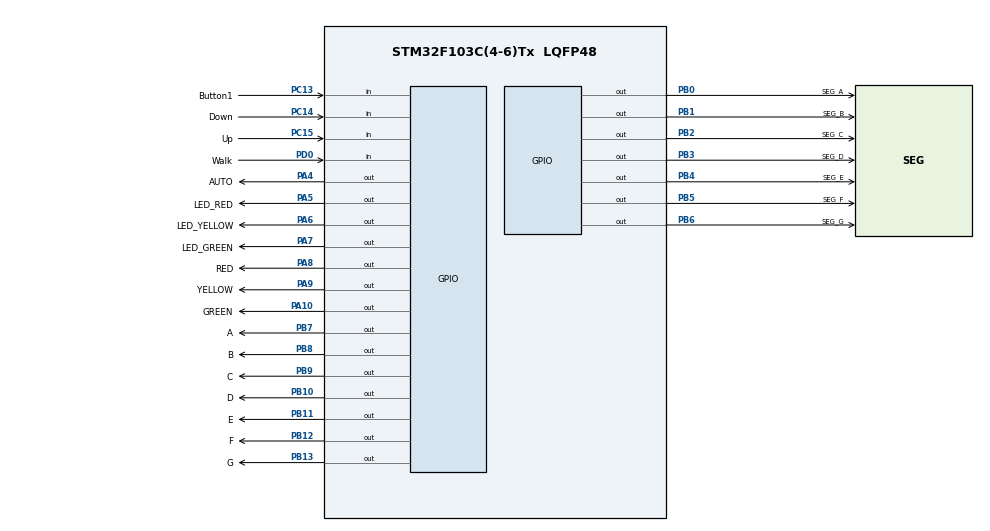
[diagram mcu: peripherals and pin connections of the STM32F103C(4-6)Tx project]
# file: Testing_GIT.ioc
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Mcu.Family=STM32F1
Mcu.Name=STM32F103C(4-6)Tx
Mcu.Package=LQFP48
NVIC.PriorityGroup=NVIC_PRIORITYGROUP_4
NVIC.TIM2_IRQn=true\:0\:0\:false\:false\:true\:true\:true
PA10.GPIO_Label=GREEN
PA10.Signal=GPIO_Output
PA4.GPIO_Label=AUTO
PA4.Signal=GPIO_Output
PA5.GPIO_Label=LED_RED
PA5.Signal=GPIO_Output
PA6.GPIO_Label=LED_YELLOW
PA6.Signal=GPIO_Output
PA7.GPIO_Label=LED_GREEN
PA7.Signal=GPIO_Output
PA8.GPIO_Label=RED
PA8.Signal=GPIO_Output
PA9.GPIO_Label=YELLOW
PA9.Signal=GPIO_Output
PB0.GPIO_Label=SEG_A
PB0.Signal=GPIO_Output
PB1.GPIO_Label=SEG_B
PB1.Signal=GPIO_Output
PB10.GPIO_Label=D
PB10.Signal=GPIO_Output
PB11.GPIO_Label=E
PB11.Signal=GPIO_Output
PB12.GPIO_Label=F
PB12.Signal=GPIO_Output
PB13.GPIO_Label=G
PB13.Signal=GPIO_Output
PB2.GPIO_Label=SEG_C
PB2.Signal=GPIO_Output
PB3.GPIO_Label=SEG_D
PB3.Signal=GPIO_Output
PB4.GPIO_Label=SEG_E
PB4.Signal=GPIO_Output
PB5.GPIO_Label=SEG_F
PB5.Signal=GPIO_Output
PB6.GPIO_Label=SEG_G
PB6.Signal=GPIO_Output
PB7.GPIO_Label=A
PB7.Signal=GPIO_Output
PB8.GPIO_Label=B
PB8.Signal=GPIO_Output
PB9.GPIO_Label=C
PB9.Signal=GPIO_Output
PC13-TAMPER-RTC.GPIO_Label=Button1
PC13-TAMPER-RTC.GPIO_PuPd=GPIO_PULLUP
PC13-TAMPER-RTC.Signal=GPIO_Input
PC14-OSC32_IN.GPIO_Label=Down
PC14-OSC32_IN.GPIO_PuPd=GPIO_PULLUP
PC14-OSC32_IN.Signal=GPIO_Input
PC15-OSC32_OUT.GPIO_Label=Up
PC15-OSC32_OUT.Signal=GPIO_Input
PD0-OSC_IN.GPIO_Label=Walk
PD0-OSC_IN.Signal=GPIO_Input
ProjectManager.HeapSize=0x200
ProjectManager.StackSize=0x400
ProjectManager.TargetToolchain=STM32CubeIDE
RCC.APB1Freq_Value=8000000
RCC.APB2Freq_Value=8000000
TIM2.Period=9
TIM2.Prescaler=7999
VP_SYS_VS_ND.Mode=No_Debug
VP_TIM2_VS_ClockSourceINT.Mode=Internal
board=custom

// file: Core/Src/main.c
/* USER CODE BEGIN Header */
/**
  ******************************************************************************
  * @file           : main.c
  * @brief          : Main program body
  ******************************************************************************
  * @attention
  *
  * <h2><center>&copy; Copyright (c) 2025 STMicroelectronics.
  * All rights reserved.</center></h2>
  *
  * This software component is licensed by ST under BSD 3-Clause license,
  * the "License"; You may not use this file except in compliance with the
  * License. You may obtain a copy of the License at:
  *                        opensource.org/licenses/BSD-3-Clause
  *
  ******************************************************************************
  */
/* USER CODE END Header */
#include "main.h"

/* USER CODE BEGIN Includes */
#include "software_timer.h"
#include "button.h"
#include "fsm_automatic.h"
#include "fsm_manual.h"
/* USER CODE END Includes */

TIM_HandleTypeDef htim2;

void SystemClock_Config(void);
static void MX_GPIO_Init(void);
static void MX_TIM2_Init(void);

int main(void)
{

  /* MCU Configuration--------------------------------------------------------*/

  /* Reset of all peripherals, Initializes the Flash interface and the Systick. */
  HAL_Init();

  /* Configure the system clock */
  SystemClock_Config();

  /* Initialize all configured peripherals */
  MX_GPIO_Init();
  MX_TIM2_Init();
  /* USER CODE BEGIN 2 */
  HAL_TIM_Base_Start_IT(&htim2);
  /* USER CODE END 2 */

  /* Infinite loop */
  /* USER CODE BEGIN WHILE */
  status = INIT;
  setTimer0(100);
  while (1)
  {
	  fsm_automatic_run();
	  if(timer0_flag == 1){
		  HAL_GPIO_TogglePin(AUTO_GPIO_Port, AUTO_Pin);
		  setTimer0(100);
	  }
	  fsm_manual_run();
    /* USER CODE END WHILE */

  }
}

void SystemClock_Config(void)
{
  RCC_OscInitTypeDef RCC_OscInitStruct = {0};
  RCC_ClkInitTypeDef RCC_ClkInitStruct = {0};

  /** Initializes the RCC Oscillators according to the specified parameters
  * in the RCC_OscInitTypeDef structure.
  */
  RCC_OscInitStruct.OscillatorType = RCC_OSCILLATORTYPE_HSI;
  RCC_OscInitStruct.HSIState = RCC_HSI_ON;
  RCC_OscInitStruct.HSICalibrationValue = RCC_HSICALIBRATION_DEFAULT;
  RCC_OscInitStruct.PLL.PLLState = RCC_PLL_NONE;
  if (HAL_RCC_OscConfig(&RCC_OscInitStruct) != HAL_OK)
  {
    Error_Handler();
  }
  /** Initializes the CPU, AHB and APB buses clocks
  */
  RCC_ClkInitStruct.ClockType = RCC_CLOCKTYPE_HCLK|RCC_CLOCKTYPE_SYSCLK
                              |RCC_CLOCKTYPE_PCLK1|RCC_CLOCKTYPE_PCLK2;
  RCC_ClkInitStruct.SYSCLKSource = RCC_SYSCLKSOURCE_HSI;
  RCC_ClkInitStruct.AHBCLKDivider = RCC_SYSCLK_DIV1;
  RCC_ClkInitStruct.APB1CLKDivider = RCC_HCLK_DIV1;
  RCC_ClkInitStruct.APB2CLKDivider = RCC_HCLK_DIV1;

  if (HAL_RCC_ClockConfig(&RCC_ClkInitStruct, FLASH_LATENCY_0) != HAL_OK)
  {
    Error_Handler();
  }
}

static void MX_TIM2_Init(void)
{

  TIM_ClockConfigTypeDef sClockSourceConfig = {0};
  TIM_MasterConfigTypeDef sMasterConfig = {0};

  htim2.Instance = TIM2;
  htim2.Init.Prescaler = 7999;
  htim2.Init.CounterMode = TIM_COUNTERMODE_UP;
  htim2.Init.Period = 9;
  htim2.Init.ClockDivision = TIM_CLOCKDIVISION_DIV1;
  htim2.Init.AutoReloadPreload = TIM_AUTORELOAD_PRELOAD_DISABLE;
  if (HAL_TIM_Base_Init(&htim2) != HAL_OK)
  {
    Error_Handler();
  }
  sClockSourceConfig.ClockSource = TIM_CLOCKSOURCE_INTERNAL;
  if (HAL_TIM_ConfigClockSource(&htim2, &sClockSourceConfig) != HAL_OK)
  {
    Error_Handler();
  }
  sMasterConfig.MasterOutputTrigger = TIM_TRGO_RESET;
  sMasterConfig.MasterSlaveMode = TIM_MASTERSLAVEMODE_DISABLE;
  if (HAL_TIMEx_MasterConfigSynchronization(&htim2, &sMasterConfig) != HAL_OK)
  {
    Error_Handler();
  }

}

static void MX_GPIO_Init(void)
{
  GPIO_InitTypeDef GPIO_InitStruct = {0};

  /* GPIO Ports Clock Enable */
  __HAL_RCC_GPIOC_CLK_ENABLE();
  __HAL_RCC_GPIOD_CLK_ENABLE();
  __HAL_RCC_GPIOA_CLK_ENABLE();
  __HAL_RCC_GPIOB_CLK_ENABLE();

  /*Configure GPIO pin Output Level */
  HAL_GPIO_WritePin(GPIOA, AUTO_Pin|LED_RED_Pin|LED_YELLOW_Pin|LED_GREEN_Pin
                          |RED_Pin|YELLOW_Pin|GREEN_Pin, GPIO_PIN_RESET);

  /*Configure GPIO pin Output Level */
  HAL_GPIO_WritePin(GPIOB, SEG_A_Pin|SEG_B_Pin|SEG_C_Pin|D_Pin
                          |E_Pin|F_Pin|G_Pin|SEG_D_Pin
                          |SEG_E_Pin|SEG_F_Pin|SEG_G_Pin|A_Pin
                          |B_Pin|C_Pin, GPIO_PIN_RESET);

  /*Configure GPIO pins : Button1_Pin Down_Pin */
  GPIO_InitStruct.Pin = Button1_Pin|Down_Pin;
  GPIO_InitStruct.Mode = GPIO_MODE_INPUT;
  GPIO_InitStruct.Pull = GPIO_PULLUP;
  HAL_GPIO_Init(GPIOC, &GPIO_InitStruct);

  /*Configure GPIO pin : Up_Pin */
  GPIO_InitStruct.Pin = Up_Pin;
  GPIO_InitStruct.Mode = GPIO_MODE_INPUT;
  GPIO_InitStruct.Pull = GPIO_NOPULL;
  HAL_GPIO_Init(Up_GPIO_Port, &GPIO_InitStruct);

  /*Configure GPIO pin : Walk_Pin */
  GPIO_InitStruct.Pin = Walk_Pin;
  GPIO_InitStruct.Mode = GPIO_MODE_INPUT;
  GPIO_InitStruct.Pull = GPIO_NOPULL;
  HAL_GPIO_Init(Walk_GPIO_Port, &GPIO_InitStruct);

  /*Configure GPIO pins : AUTO_Pin LED_RED_Pin LED_YELLOW_Pin LED_GREEN_Pin
                           RED_Pin YELLOW_Pin GREEN_Pin */
  GPIO_InitStruct.Pin = AUTO_Pin|LED_RED_Pin|LED_YELLOW_Pin|LED_GREEN_Pin
                          |RED_Pin|YELLOW_Pin|GREEN_Pin;
  GPIO_InitStruct.Mode = GPIO_MODE_OUTPUT_PP;
  GPIO_InitStruct.Pull = GPIO_NOPULL;
  GPIO_InitStruct.Speed = GPIO_SPEED_FREQ_LOW;
  HAL_GPIO_Init(GPIOA, &GPIO_InitStruct);

  /*Configure GPIO pins : SEG_A_Pin SEG_B_Pin SEG_C_Pin D_Pin
                           E_Pin F_Pin G_Pin SEG_D_Pin
                           SEG_E_Pin SEG_F_Pin SEG_G_Pin A_Pin
                           B_Pin C_Pin */
  GPIO_InitStruct.Pin = SEG_A_Pin|SEG_B_Pin|SEG_C_Pin|D_Pin
                          |E_Pin|F_Pin|G_Pin|SEG_D_Pin
                          |SEG_E_Pin|SEG_F_Pin|SEG_G_Pin|A_Pin
                          |B_Pin|C_Pin;
  GPIO_InitStruct.Mode = GPIO_MODE_OUTPUT_PP;
  GPIO_InitStruct.Pull = GPIO_NOPULL;
  GPIO_InitStruct.Speed = GPIO_SPEED_FREQ_LOW;
  HAL_GPIO_Init(GPIOB, &GPIO_InitStruct);

  /*Configure peripheral I/O remapping */
  __HAL_AFIO_REMAP_PD01_ENABLE();

}

/* USER CODE BEGIN 4 */
void HAL_TIM_PeriodElapsedCallback(TIM_HandleTypeDef *htim){
	timerRun0();
	timerRun1();
	getKey1Input();
}
/* USER CODE END 4 */

void Error_Handler(void)
{
  __disable_irq();
  while (1)
  {
  }
}

/************************ (C) COPYRIGHT STMicroelectronics *****END OF FILE****/
